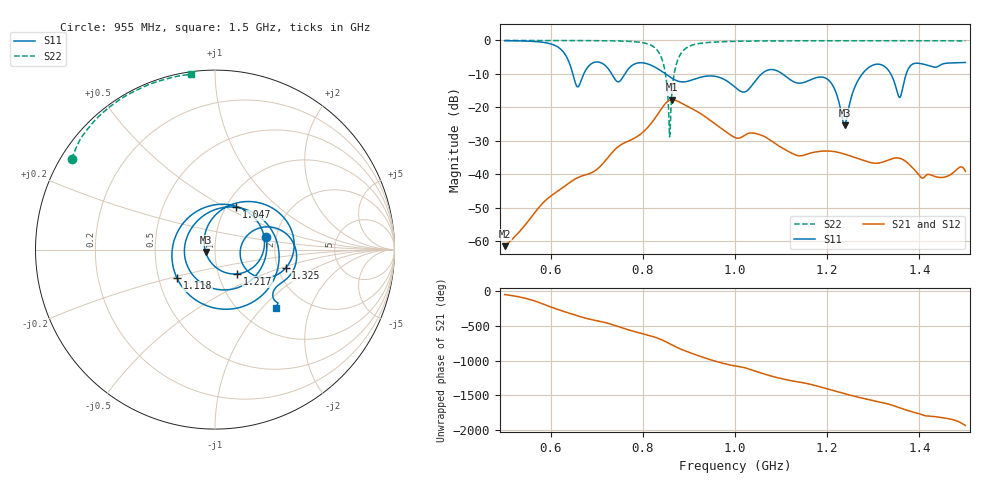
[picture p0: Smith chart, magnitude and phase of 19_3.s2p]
! TOUCHSTONE file generated by CST MICROWAVE STUDIO
! Date and time: Fri Dec 11 14:11:34 2020
! Project name: Scenario_1_Planar_Body_Tissue_Out_of_Line_v2.cst
! Parameters = {dy1=-34.6; L_HA=400; Ltissue=700; MT=2.54; Rad_Dielectric=30; Rad_Lower=7.3; Rad_Upper=30; Wtissue=700; a_HA=580; a_WG=246; b_HA=500; b_WG=121; c_HA=0; c_WG=187; d_feed=85; dx1=520; h_feed=15; h_lower=18; h_upper=40; hfat=3; hgap=25; hmuscle=50; hskin=1.5}
! Header version: 2018
! Port assignment regex: !\s*Touchstone port\s*([0-9]+)\s*=\s*(CST MWS port|CST DS port)\s*([0-9]+|Zmin|Zmax)\s*\(\"(.*)\"\)(\s*mode\s*([0-9]+))?.*
! Touchstone port assignment:
! Touchstone port 1 = CST MWS port 1 ("")
! Touchstone port 2 = CST MWS port 2 ("")
# GHz S DB R 50
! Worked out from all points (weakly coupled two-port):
!   1003 points, 500 MHz to 1.5 GHz, reference 50 ohm
!   highest |S21| = -17.66 dB at 864 MHz (marker M1); lowest = -61.4 dB at 500 MHz (marker M2)
!   lowest |S11| = -25.3 dB at 1.238 GHz (marker M3), VSWR 1.11, Z = 45 - j1.18 ohm
!   |S11| at or under -10 dB: 849.4 MHz to 1.058 GHz (208.3 MHz wide, 21.8 % of centre); 1.103 GHz to 1.276 GHz (173.2 MHz wide, 14.6 % of centre); 1.338 GHz to 1.372 GHz (33.52 MHz wide, 2.47 % of centre)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
!   |S22| runs from -28.8 to 0.0 dB; largest |S21 - S12| = 2e-05
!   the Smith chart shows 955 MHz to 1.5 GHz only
!   S11 on the Smith chart (normalised r, x): 955 MHz: 1.77, +0.26; 1.047 GHz: 1.12, +0.57; 1.118 GHz: 0.62, -0.21; 1.217 GHz: 1.23, -0.34; 1.325 GHz: 2.21, -0.54; 1.5 GHz: 1.44, -1.20
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0.5  -0.07 -122.0  -61.40 -48.0  -61.40 -48.0  -0.01 151.1
0.628  -3.52 147.5  -43.76 69.3  -43.76 69.4  -0.03 141.9
0.667  -11.64 178.9  -40.48 -13.0  -40.48 -13.0  -0.04 138.4
0.716  -7.22 105.3  -36.32 -88.2  -36.32 -88.2  -0.09 132.8
0.741  -11.85 7.8  -32.37 -136.7  -32.37 -136.7  -0.14 129.1
0.786  -6.82 166.2  -28.83 131.1  -28.83 131.1  -0.42 118.3
0.834  -8.58 43.9  -21.67 38.4  -21.67 38.4  -3.42 84.3
0.857  -10.73 -24.7  -17.90 -33.0  -17.90 -33.0  -24.56 11.5
0.864  -11.35 -48.5  -17.66 -57.7  -17.66 -57.7  -14.25 -137.8
0.902  -12.01 169.9  -20.05 -165.6  -20.05 -165.6  -1.66 167.5
0.955  -10.67 13.5  -24.73 75.6  -24.73 75.6  -0.50 147.7
1  -13.96 -112.6  -28.97 2.6  -28.97 2.6  -0.25 140.3
1.047  -11.57 63.2  -27.84 -79.0  -27.84 -79.0  -0.17 134.7
1.118  -11.54 -143.0  -33.28 154.8  -33.28 154.8  -0.11 128.2
1.167  -11.58 70.1  -33.51 91.9  -33.51 91.9  -0.10 124.2
1.217  -14.78 -47.9  -33.21 1.2  -33.21 1.2  -0.08 120.4
1.238  -25.32 -166.0  -33.93 -37.5  -33.93 -37.5  -0.08 118.8
1.325  -7.81 -14.6  -36.09 -173.5  -36.09 -173.5  -0.08 112.2
1.334  -9.11 -25.7  -35.62 170.4  -35.62 170.4  -0.08 111.5
1.357  -17.02 -6.0  -35.15 119.8  -35.15 119.8  -0.09 109.8
1.386  -7.03 2.5  -38.08 58.2  -38.08 58.2  -0.09 107.5
1.5  -6.58 -43.8  -39.09 -135.5  -39.09 -135.5  -0.13 98.0
